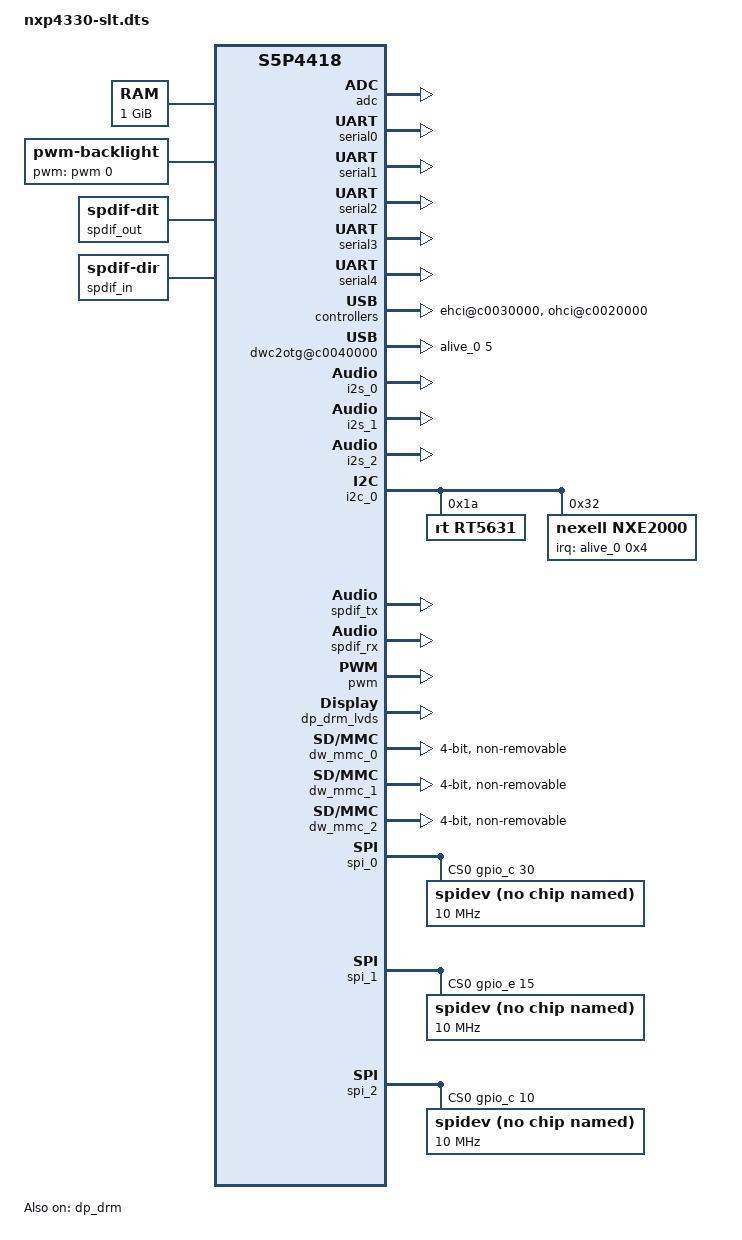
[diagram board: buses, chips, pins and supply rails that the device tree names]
/*
 * Copyright (C) 2016  Nexell Co., Ltd.
 * Author: Youngbok, Park <ybpark@nexell.co.kr>
 *
 * This program is free software; you can redistribute it and/or
 * modify it under the terms of the GNU General Public License
 * as published by the Free Software Foundation; either version 2
 * of the License, or (at your option) any later version.
 *
 * This program is distributed in the hope that it will be useful,
 * but WITHOUT ANY WARRANTY; without even the implied warranty of
 * MERCHANTABILITY or FITNESS FOR A PARTICULAR PURPOSE.  See the
 * GNU General Public License for more details.
 *
 * You should have received a copy of the GNU General Public License
 * along with this program.  If not, see <http://www.gnu.org/licenses/>.
 */

/dts-v1/;
#include <dt-bindings/interrupt-controller/irq.h>
#include <dt-bindings/gpio/gpio.h>
#include <dt-bindings/input/input.h>
#include "nxp4330.dtsi"

#define PMIC_PDATA_INIT(_id, _rname, _minuv,    \
                        _maxuv, _init_uv, _init_enable,         \
                        _set_init_uV, _slp_slots)       \
                regulator-name = _rname;                \
                regulator-min-microvolt = <_minuv>;     \
                regulator-max-microvolt = <_maxuv>;     \
                nx,id = <_id>;                          \
                nx,init_enable = <_init_enable>;        \
                nx,init_uV = <_init_uv>;                \
                nx,set_init_uV = <_set_init_uV>;        \
                nx,sleep_slots = <_slp_slots>;


/ {
	memory {
		device_type = "memory";
		reg = <0x71000000 0x40000000>;
	};

	psci {
		compatible = "arm,psci-0.2";
		method = "smc";
	};

	nx-v4l2 {
		status = "okay";
	};

	soc {
		#include "s5p4418-pinctrl.dtsi"
		clocks {
			uart0:uart@c00a9000 { clock-frequency = <147500000>; };
			uart1:uart@c00a8000 { clock-frequency = <100000000>; };
			uart2:uart@c00aa000 { clock-frequency = <100000000>; };
			uart3:uart@c00ab000 { clock-frequency = <147500000>; };
			uart4:uart@c006e000 { clock-frequency = <100000000>; };
			vip0:vip@c00c1000 { clock-frequency = <300000000>; };
			vip1:vip@c00c2000 { src-force = <5>; };
			pwm0:pwm0@c00ba000 {
				clk-input = <I_PLL2>;
				clock-frequency = <10000000>;
			};
			pwm1:pwm1@c00ba000 {
				clk-input = <I_PLL2>;
				clock-frequency = <10000000>;
			};
			pwm2:pwm2@c00be000 {
				clk-input = <I_PLL2>;
				clock-frequency = <10000000>;
			};
			pwm3:pwm3@c00be000 {
				clk-input = <I_PLL2>;
				clock-frequency = <10000000>;
			};
			spi0:spi@c00ac000 {
				clock-frequency = <10000000>;
			};
			spi1:spi@c00ad000 {
				clock-frequency = <10000000>;
			};
			spi2:spi@c00a7000 {
				clock-frequency = <10000000>;
			};
		};

		adc:adc@c0053000 {
			status = "okay";
		};

		pinctrl@C0010000 {
			i2s2_bus:i2s2 {
				/delete-node/ i2s2-mclk;
			};
		};

		l2:l2-cache-controller@cf000000 {
			arm,prefetch-offset = <7>;
			prefetch-data = <1>;
			prefetch-instr = <1>;
			arm,tag-latency = <3 4 3>;
			arm,data-latency = <3 4 3>;
		};

		serial0:serial@c00a1000 {
			status ="okay";
		};

		serial1:serial@c00a0000 {
			status ="okay";
		};

		serial2:serial@c00a2000 {
			status ="okay";
		};

		serial3:serial@c00a3000 {
			status ="okay";
		};

		serial4:serial@c006d000 {
			status ="okay";
		};

		rtc@c0010c00 {
			status = "okay";
		};

		nexell_usbphy: nexell-usbphy@c0012000 {
			status = "okay";
		};

		ehci@c0030000 {
			status = "okay";
			port@0 {
				status = "okay";
			};
		};

		ohci@c0020000 {
			status = "okay";
			port@0 {
				status = "okay";
			};
		};

		dwc2otg@c0040000 {
			gpios = <&alive_0 5 0>;
			status = "okay";
		};

		i2s_0:i2s@c0055000 {
			#sound-dai-cells = <1>;
			master-mode = <1>;
			mclk-in = <0>;
			trans-mode = <0>;
			frame-bit = <32>;
			sample-rate = <48000>;
			pre-supply-mclk = <1>;
			status = "okay";
		};

		i2s_1:i2s@c0056000 {
			#sound-dai-cells = <1>;
			master-mode = <1>;
			mclk-in = <1>;
			trans-mode = <0>;
			frame-bit = <32>;
			sample-rate = <48000>;
			pre-supply-mclk = <0>;
			status = "okay";
		};

		i2s_2:i2s@c0057000 {
			#sound-dai-cells = <1>;
			master-mode = <0>;
			mclk-in = <1>;
			trans-mode = <0>;
			frame-bit = <32>;
			sample-rate = <48000>;
			pre-supply-mclk = <0>;
			status = "okay";
		};

		i2c_0:i2c@c00a4000 {
			#address-cells = <1>;
			#size-cells = <0>;
			status = "okay";

			rt5631: rt5631@1a {
				#sound-dai-cells = <0>;
				compatible = "rt,rt5631";
				reg = <0x1a>;
			};
		};

		amba {
			pl08xdma0:pl08xdma@c0000000 {
				use_isr;
			};

			pl08xdma1:pl08xdma@c0001000 {
				use_isr;
			};
		};

		spdif_tx: spdiftx@c0059000 {
			#sound-dai-cells = <1>;
			pcm-bit = <16>;
			sample_rate = <48000>;
			status = "okay";
		};

		spdif_rx: spdifrx@c005a000 {
			#sound-dai-cells = <1>;
			status = "okay";
		};

		pwm:pwm@c0018000 {
			clock-names = "timers", "pwm-tclk0", "pwm-tclk1";
			clocks =  <&pclk>, <&pwm0>, <&pwm1>;
			pinctrl-names = "default";
			pinctrl-0 = <&pwm0_pin &pwm1_pin &pwm2_pin>;
			samsung,pwm-outputs = <0>, <1>, <2>;
			status = "okay";
		};

		nexell_usbphy: nexell-usbphy@c0012000 {
			status = "okay";
		};

		ehci@c0030000 {
			status = "okay";
			port@0 {
				status = "okay";
			};
		};

		ohci@c0020000 {
			status = "okay";
			port@0 {
				status = "okay";
			};
		};

		dwc2otg@c0040000 {
			gpios = <&alive_0 5 0>;
			status = "okay";
		};

		nexell-ion@0 {
			compatible = "nexell,ion";

			heap_sys_user@0 {
				heap-type = "ion_system";
			};

			heap_sys_contig@0 {
				heap-type = "ion_system_contig";
			};

			heap_dma@0 {
				heap-type = "ion_dma";
			};
		};

	backlight: pwm-backlight {
		compatible = "pwm-backlight";
		pwms = <&pwm 0 20000 1>;
		pwm-names = "pwm-backlight";

		brightness-levels = <30 31 32 33 34 35 36 37 38 39
				     40 41 42 43 44 45 46 47 48 49
				     50 51 52 53 54 55 56 57 58 59
				     60 61 62 63 64 65 66 67 68 69
				     70 71 72 73 74 75 76 77 78 79
				     80 81 82 83 84 85 86 87 88 89
				     90>;
		default-brightness-level = <45>;
		status = "okay";
	};

	};	/*** soc ***/

	sound {
		compatible = "nexell,simple-audio-card";
		simple-audio-card,name = "nxp4330 vtk Audio";
		simple-audio-card,mclk-fs = <256>;
		simple-audio-card,widgets =
		    "Headphone", "Out Jack",
		    "Microphone", "In Jack";
		simple-audio-card,routing =
		    "Out Jack", "HPOL",
		    "Out Jack", "HPOR",
		    "IN2P", "In Jack",
		    "IN2P", "In Jack";
		status = "okay";


		simple-audio-card,dai-link@0 {
			format = "i2s";
			cpu {
				sound-dai = <&i2s_0 0>;
			};

			codec {
				sound-dai = <&snd_null>;
			};
		};

		simple-audio-card,dai-link@1 {
			format = "i2s";
			cpu {
				sound-dai = <&i2s_1 0>;
			};

			codec {
				sound-dai = <&rt5631>;
			};
		};

		simple-audio-card,dai-link@2 {
			format = "i2s";
			cpu {
				sound-dai = <&i2s_2 0>;
			};

			codec {
				sound-dai = <&snd_null>;
			};
		};

		simple-audio-card,dai-link@3 {
			format = "spdif";
			cpu {
				sound-dai = <&spdif_tx 0>;
			};

			codec {
				sound-dai = <&spdif_out>;
			};
		};

		simple-audio-card,dai-link@4 {
			format = "spdif";
			cpu {
				sound-dai = <&spdif_rx 0>;
			};

			codec {
				sound-dai = <&spdif_in>;
			};
		};
	};

	snd_null: snd_null@10 {
		#sound-dai-cells = <0>;
		compatible = "nexell,snd-null";
		#address-cells = <1>;
		#size-cells = <0>;
		reg = <0 0>;
        };

	spdif_out: spdif-out {
		#sound-dai-cells = <0>;
		compatible = "linux,spdif-dit";
	};

	spdif_in: spdif-in {
		#sound-dai-cells = <0>;
		compatible = "linux,spdif-dir";
	};
};

&dp_drm {
	status = "okay";
	ports {
		port@0 {
			reg = <0>;
			back_color = < 0x0 >;
			color_key = < 0x0 >;
			plane-names = "rgb", "primary", "video";
		};
		port@1 {
			reg = <1>;
			back_color = < 0x0 >;
			color_key = < 0x0 >;
			plane-names = "primary", "video";
		};
	};
};

&dp_drm_lvds {
	status = "ok";

	display-timing {
		clock-frequency = <50000000>;
		hactive = <1280>;
		vactive = <800>;
		hfront-porch = <160>;
		hback-porch = <140>;
		hsync-len = <20>;
		vfront-porch = <12>;
		vback-porch = <20>;
		vsync-len = <3>;
	};

	dp_control {
		clk_src_lv0 = <3>;
		clk_div_lv0 = <12>;
		clk_src_lv1 = <7>;
		clk_div_lv1 = <1>;
		out_format = <2>;
	};
};

&dw_mmc_0 {
	num-slots = <1>;
	bus-width = <4>;
	cap-sd-highspeed;
	broken-cd;
	non-removable;
	clock-frequency = <200000000>;
	card-detect-delay = <200>;
	disable-wp;
	nexell,drive_dly = <0x0>;
	nexell,drive_shift = <0x03>;
	nexell,sample_dly = <0x00>;
	nexell,sample_shift = <0x02>;
	status = "okay";
};

&dw_mmc_1 {
	num-slots = <1>;
	bus-width = <4>;
	cap-sd-highspeed;
	clock-frequency = <100000000>;
	card-detect-delay = <200>;
	broken-cd;
	non-removable;
	disable-wp;
	nexell,drive_dly = <0x0>;
	nexell,drive_shift = <0x03>;
	nexell,sample_dly = <0x00>;
	nexell,sample_shift = <0x02>;
	status = "okay";
};

&dw_mmc_2 {
	num-slots = <1>;
	bus-width = <4>;
	cap-sd-highspeed;
	clock-frequency = <100000000>;
	card-detect-delay = <200>;
	broken-cd;
	non-removable;
	disable-wp;
	nexell,drive_dly = <0x0>;
	nexell,drive_shift = <0x03>;
	nexell,sample_dly = <0x00>;
	nexell,sample_shift = <0x02>;
	status = "okay";
};

&spi_0 {
	status = "okay";
	cs-gpios = <&gpio_c 30 0>;
	spidev@0 {
		compatible = "linux,spidev";
		pl022,com-mode = <0x1>;
		pl022,rx-level-trig = <1>;
		pl022,tx-level-trig = <1>;
		reg = <0>;
		spi-max-frequency = <10000000>;
		controller-data {
			samsung,spi-feedback-delay = <0>;
		};
	};
};

&spi_1 {
	status = "okay";
	cs-gpios = <&gpio_e 15 0>;
	spidev@0 {
		compatible = "linux,spidev";
		pl022,com-mode = <0x1>;
		pl022,rx-level-trig = <1>;
		pl022,tx-level-trig = <1>;
		reg = <0>;
		spi-max-frequency = <10000000>;
		controller-data {
			samsung,spi-feedback-delay = <0>;
		};
	};
};

&spi_2 {
	status = "okay";
	cs-gpios = <&gpio_c 10 0>;
	spidev@0 {
		compatible = "linux,spidev";
		pl022,com-mode = <0x1>;
		pl022,rx-level-trig = <1>;
		pl022,tx-level-trig = <1>;
		reg = <0>;
		spi-max-frequency = <10000000>;
		controller-data {
			samsung,spi-feedback-delay = <0>;
		};
	};
};

&i2c_0 {
	status = "okay";

	nxe2000@32 {
		compatible = "nexell,nxe2000";
		reg = <0x32>;
		interrupt-parent = <&alive_0>;
		interrupts = <0x4 IRQ_TYPE_EDGE_FALLING>;

		regulators {
			VCC_DCDC0:
				dcdc1	{ PMIC_PDATA_INIT( 0,
					"nxe2000_dcdc1",
					900000, 1500000,
					1125000, 1, 1, 0x4)
					regulator-always-on;
					regulator-boot-on;};
			VCC_DCDC1:
				dcdc2	{ PMIC_PDATA_INIT( 1,
					"nxe2000_dcdc2",
					1000000, 1500000,
					1000000, 1, 1, 0x4)
					regulator-always-on;
					regulator-boot-on;};
			VCC_DCDC2:
				dcdc3	{ PMIC_PDATA_INIT( 2,
					"nxe2000_dcdc3",
					1000000, 3500000,
					3300000, 1, 1, 0x0)
					regulator-always-on;
					regulator-boot-on;};
			VCC_DCDC3:
				dcdc4	{ PMIC_PDATA_INIT( 3,
					"nxe2000_dcdc4",
					1000000, 2000000,
					1500000, 1, 0, 0xF)
					regulator-always-on;
					regulator-boot-on;};
			VCC_DCDC4:
				dcdc5	{ PMIC_PDATA_INIT( 4,
					"nxe2000_dcdc5",
					1000000, 2000000,
					1500000, 1, 0, 0x4)
					regulator-always-on;
					regulator-boot-on;};
			VCC_LDO0:
				ldo1	{ PMIC_PDATA_INIT( 5,
					"nxe2000_ldo1",
					1000000, 3500000,
					3300000, 0, 1, 0x0)
					regulator-boot-on;};
			VCC_LDO1:
				ldo2	{ PMIC_PDATA_INIT( 6,
					"nxe2000_ldo2",
					1000000, 3500000,
					3300000, 0, 1, 0x0)
					regulator-boot-on;};
			VCC_LDO2:
				ldo3	{ PMIC_PDATA_INIT( 7,
					"nxe2000_ldo3",
					1000000, 3500000,
					1800000, 1, 1, 0x2)
					regulator-always-on;
					regulator-boot-on;};
			VCC_LDO3:
				ldo4	{ PMIC_PDATA_INIT( 8,
					"nxe2000_ldo4",
					1000000, 3500000,
					1800000, 1, 1, 0x2)
					regulator-always-on;
					regulator-boot-on;};
			VCC_LDO4:
				ldo5	{ PMIC_PDATA_INIT( 9,
					"nxe2000_ldo5",
					1000000, 3500000,
					3300000, 0, 1, 0x0)
					regulator-boot-on;};
			VCC_LDO5:
				ldo6	{ PMIC_PDATA_INIT(10,
					"nxe2000_ldo6",
					1000000, 3500000,
					3300000, 1, 1, 0xF)
					regulator-always-on;
					regulator-boot-on;};
			VCC_LDO6:
				ldo7	{ PMIC_PDATA_INIT(11,
					"nxe2000_ldo7",
					1000000, 3500000,
					3300000, 1, 1, 0x1)
					regulator-always-on;
					regulator-boot-on;};
			VCC_LDO7:
				ldo8	{ PMIC_PDATA_INIT(12,
					"nxe2000_ldo8",
					1000000, 3500000,
					3300000, 0, 1, 0x0)
					regulator-boot-on;};
			VCC_LDO8:
				ldo9	{ PMIC_PDATA_INIT(13,
					"nxe2000_ldo9",
					1000000, 3500000,
					1800000, 0, 1, 0x0)
					regulator-boot-on;};
			VCC_LDO9:
				ldo10	{ PMIC_PDATA_INIT(14,
					"nxe2000_ldo10",
					1000000, 3500000,
					1200000, 1, 1, 0x0)
					regulator-always-on;
					regulator-boot-on;};
			VCC_RTC0:
				ldortc1	{ PMIC_PDATA_INIT(15,
					"nxe2000_rtc1",
					1700000, 3500000,
					1800000, 1, 1, 0xF)
					regulator-always-on;
					regulator-boot-on;};
			VCC_RTC1:
				ldortc2	{ PMIC_PDATA_INIT(16,
					"nxe2000_rtc2",
					1000000, 3500000,
					1000000, 1, 1, 0xF)
					regulator-always-on;
					regulator-boot-on;};
		}; /* regulators */
	}; /* nxe2000@32 */
};
